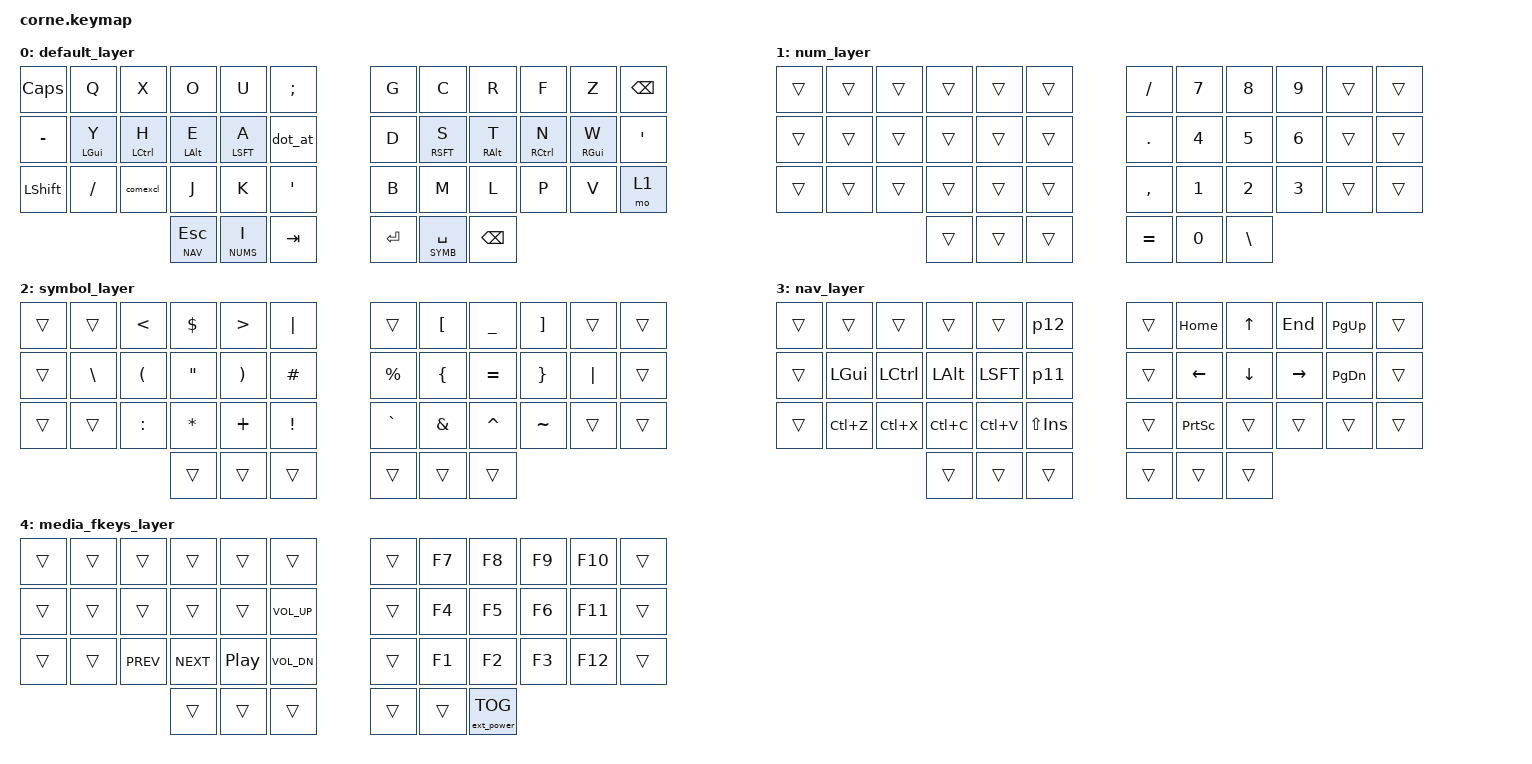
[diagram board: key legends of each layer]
/*
 * Copyright (c) 2020 The ZMK Contributors
 *
 * SPDX-License-Identifier: MIT
 */

#include <behaviors.dtsi>
#include <dt-bindings/zmk/keys.h>
#include <dt-bindings/zmk/bt.h>
#include <dt-bindings/zmk/ext_power.h>

#define DEFAULT 0
#define NUMS   1
#define SYMB   2
#define NAV    3
/ {
    ZMK_MACRO(p11,
        wait-ms = <30>;
        tap-ms = <40>;
        bindings = <&macro_press &kp LSHFT>
    , <&macro_tap &kp M>
    , <&macro_release &kp LSHFT>
    , <&macro_tap &kp Y &kp S &kp M &kp E &kp L &kp L &kp Y &kp O &kp L &kp D &kp S &kp O &kp C &kp K &kp S &kp N1 &kp N2>;
    )
    ZMK_MACRO(p12,
        wait-ms = <30>;
        tap-ms = <40>;
        bindings = <&kp M &kp Y &kp S &kp M &kp E &kp L &kp L &kp Y &kp O &kp L &kp D &kp S &kp O &kp C &kp K &kp S>;
    )
    behaviors {
          hm: homerow_mods {
              compatible = "zmk,behavior-hold-tap";
              label = "HOMEROW_MODS";
              #binding-cells = <2>;
              tapping-term-ms = <150>;
              quick-tap-ms = <0>;
              flavor = "tap-preferred";
              bindings = <&kp>, <&kp>;
          };
    lt: layer_tap {
              compatible = "zmk,behavior-hold-tap";
              label = "LAYER_TAP";
              #binding-cells = <2>;
              pping-term-ms = <150>;
              quick-tap-ms = <0>;
              flavor = "tap-preferred";
              bindings = <&kp>, <&kp>;
          };
          dot_at: dot_at {
            compatible = "zmk,behavior-mod-morph";
            label = "DOT_AT";
            #binding-cells = <0>;
            bindings = <&kp DOT>, <&kp AT>;
            mods = <(MOD_RGUI|MOD_RSFT)>;
        };
          comexcl: comma_exclamation {
            compatible = "zmk,behavior-mod-morph";
            label = "COMMA_EXCLAMATION";
            #binding-cells = <0>;
            bindings = <&kp COMMA>, <&kp EXCLAMATION>;
            mods = <(MOD_RGUI|MOD_RSFT)>;
        };
    };
        keymap {
                compatible = "zmk,keymap";

                default_layer {
// -----------------------------------------------------------------------------------------
// |  CAPS |  Q  |  X  |  O  |  U  |  ;  |   |  G  |  C   |  R  |  F  |  Z  | BKSP |
// |  -   |  Y  |  H  |  E  |  A  |  ./@  |   |  D  |  S   |  T  |  N  |  W  |  '   |
// | SHFT |  /  |  ,/!  |  J  |  K  |  '  |   |  B  |  M   |  L  |  P  |  V  | DEL  |
//                    | ESC |  I  | TAB |   | ENT | SPC  | BKSP|
                        bindings = <
   &kp CAPS  &kp Q      &kp X       &kp O &kp U &kp SEMI           &kp G &kp C  &kp R  &kp F &kp Z &kp BSPC
   &kp MINUS &hm LGUI Y &hm LCTRL H &hm LALT E &hm LSFT A &dot_at  &kp D &hm RSFT S  &hm RALT T  &hm RCTRL N &hm RGUI W &kp SQT
   &kp LSHFT &kp FSLH   &comexcl   &kp J &kp K                    &kp SQT  &kp B &kp M  &kp L  &kp P &kp V &mo 1
                  &lt NAV ESC &lt NUMS I &kp TAB        &kp RET &lt SYMB SPACE &kp BSPC
                        >;
                };

                num_layer {
// -----------------------------------------------------------------------------------------
// |    |     |     |     |     |     |  |  /  |  7  |  8  |  9   |     |      |
// |  |   |   |   |   |   |              |  .  |  4  |  5  |  6   |     |      |
// |   |     |     |     |     |     |   |  ,  |  1  |  2  |  3   |     |      |
//                    |   |     |   |    |  =  |  0  |  \  |
                        bindings = <
   &trans  &trans  &trans  &trans  &trans  &trans  &kp FSLH  &kp N7  &kp N8  &kp N9  &trans  &trans  
   &trans  &trans  &trans  &trans  &trans  &trans  &kp DOT   &kp N4  &kp N5  &kp N6  &trans  &trans  
   &trans  &trans  &trans  &trans  &trans  &trans  &kp COMMA &kp N1  &kp N2  &kp N3  &trans  &trans  
              &trans  &trans  &trans  &kp EQUAL  &kp N0  &kp BSLH  
                        >;
                };

                symbol_layer {
// -----------------------------------------------------------------------------------------
// |  |     | <  | $   | >   | | |      |     |  [  |  _  |  ]   |     |      |
// |  |  \  | (  | "   | )   | # |      |  %  |  {  |  =  |  }   |  |  |      |
// |  |     | :  | *   | +   | ! |      |  `  |  &  |  ^  |  ~   |     |      |
//                    |   |     |   |    |     |     |     |
                        bindings = <
   &trans  &trans   &kp LT    &kp DLLR &kp GT   &kp PIPE &trans      &kp LBKT &kp UNDER &kp RBKT &trans   &trans  
   &trans  &kp BSLH &kp LPAR  &kp DQT  &kp RPAR &kp HASH &kp PERCENT &kp LBRC &kp EQUAL &kp RBRC &kp PIPE &trans  
   &trans  &trans   &kp COLON &kp STAR &kp PLUS &kp EXCL &kp GRAVE   &kp AMPS &kp CARET &kp TILDE &trans  &trans  
              &trans  &trans  &trans  &trans  &trans  &trans
                        >;
                };

                nav_layer {
                        bindings = <
   &trans  &trans  &trans  &trans  &trans           &p12    &trans  &kp HOME  &kp UP    &kp END    &kp PG_UP  &trans  
   &trans  &kp LGUI  &kp LCTRL  &kp LALT  &kp LSFT  &p11    &trans  &kp LEFT  &kp DOWN  &kp RIGHT  &kp PG_DN  &trans  
   &trans  &kp LC(Z)  &kp LC(X)  &kp LC(C)  &kp LC(V)  &kp LS(INS)   &trans  &kp PRINTSCREEN &trans  &trans  &trans  &trans  
              &trans  &trans  &trans  &trans  &trans  &trans
                        >;
                };

                media_fkeys_layer {
                        bindings = <
   &trans  &trans  &trans  &trans  &trans  &trans                   &trans  &kp F7  &kp F8  &kp F9  &kp F10  &trans  
   &trans  &trans  &trans  &trans  &trans  &kp C_VOL_UP             &trans  &kp F4  &kp F5  &kp F6  &kp F11  &trans  
   &trans  &trans  &kp C_PREV &kp C_NEXT  &kp C_PP  &kp C_VOL_DN    &trans  &kp F1  &kp F2  &kp F3  &kp F12  &trans  
              &trans  &trans  &trans                                   &trans  &trans  &ext_power EP_TOG
                        >;
                };
        };
};
   //&trans  &trans  &trans  &trans  &trans  &trans    &trans  &trans  &trans  &trans  &trans  &trans  
   //&trans  &trans  &trans  &trans  &trans  &trans    &trans  &trans  &trans  &trans  &trans  &trans  
   //&trans  &trans  &trans  &trans  &trans  &trans    &trans  &trans  &trans  &trans  &trans  &trans  
   //           &trans  &trans  &trans                     &trans  &trans  &trans  
